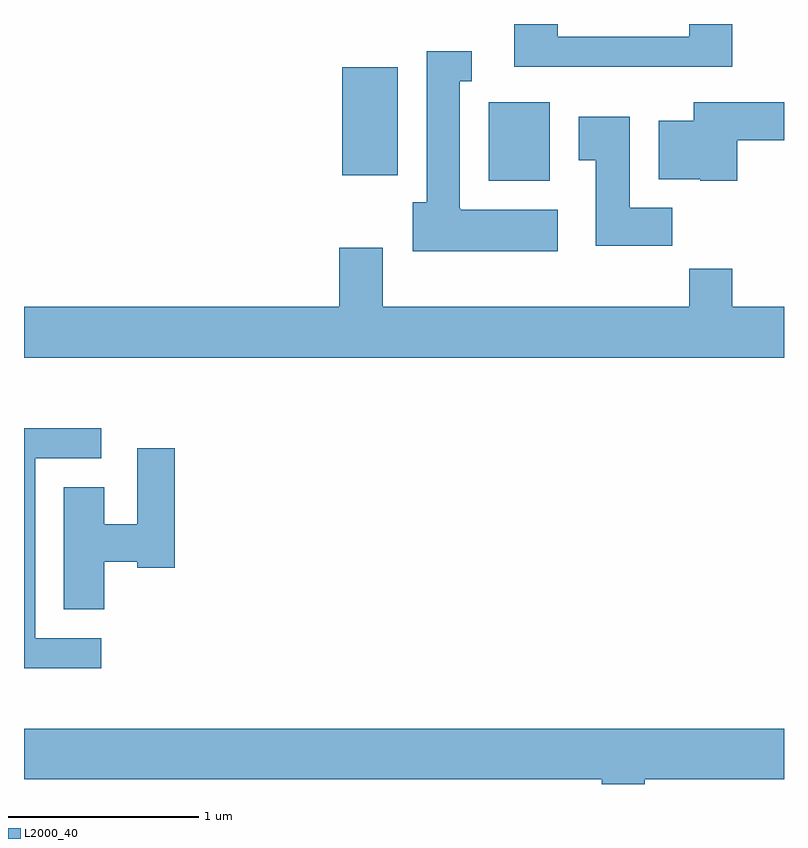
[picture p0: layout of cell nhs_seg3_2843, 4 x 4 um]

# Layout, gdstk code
import gdstk
lib = gdstk.Library(unit=1e-6, precision=1e-09)
def R(c, l, rs):  # rectangles x0, y0, x1, y1
    for r in rs: c.add(gdstk.rectangle(r[:2], r[2:], *l))
def P(c, l, *ps):  # polygons
    for p in ps: c.add(gdstk.Polygon(p, *l))
L2000_40 = (2000, 40)

nhs_seg3_2843 = lib.new_cell('nhs_seg3_2843')
R(nhs_seg3_2843, L2000_40, [(270.056,1229.066,270.379,1229.479), (269.286,1229.096,269.579,1229.664)])
P(nhs_seg3_2843, L2000_40, [(271.339,1229.892),(271.111,1229.892),(271.111,1229.824),(270.419,1229.824),(270.419,1229.892),(270.191,1229.892),(270.191,1229.666),(271.339,1229.666)],
  [(270.419,1228.914),(269.91,1228.914),(269.91,1228.92),(269.904,1228.92),(269.904,1229.591),(269.968,1229.591),(269.968,1229.749),(269.731,1229.749),(269.731,1228.954),(269.656,1228.954),(269.656,1228.696),(270.419,1228.696)],
  [(271.364,1229.281),(271.611,1229.281),(271.611,1229.479),(271.136,1229.479),(271.136,1229.384),(270.951,1229.384),(270.951,1229.076),(271.17,1229.076),(271.17,1229.066),(271.364,1229.066)],
  [(271.024,1228.924),(270.799,1228.924),(270.799,1229.404),(270.531,1229.404),(270.531,1229.176),(270.621,1229.176),(270.621,1228.726),(271.024,1228.726)],
  [(271.611,1228.404),(271.339,1228.404),(271.339,1228.604),(271.111,1228.604),(271.111,1228.404),(269.499,1228.404),(269.499,1228.714),(269.271,1228.714),(269.271,1228.404),(267.611,1228.404),(267.611,1228.136),(271.611,1228.136)],
  [(268.018,1226.659),(267.669,1226.659),(267.669,1227.606),(268.018,1227.606),(268.018,1227.764),(267.611,1227.764),(267.611,1226.501),(268.018,1226.501)],
  [(268.034,1227.061),(268.206,1227.061),(268.206,1227.031),(268.404,1227.031),(268.404,1227.659),(268.206,1227.659),(268.206,1227.259),(268.034,1227.259),(268.034,1227.454),(267.821,1227.454),(267.821,1226.811),(268.034,1226.811)],
  [(270.879,1225.916),(271.611,1225.916),(271.611,1226.184),(267.611,1226.184),(267.611,1225.916),(270.651,1225.916),(270.651,1225.892),(270.879,1225.892)])

lib.write_gds('nhs_seg3_2843.gds')
